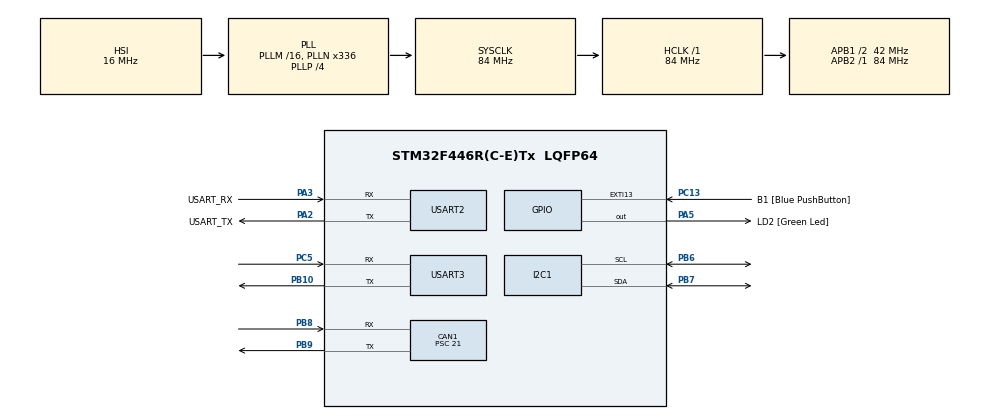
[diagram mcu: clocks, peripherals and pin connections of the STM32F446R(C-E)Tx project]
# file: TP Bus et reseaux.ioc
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CAN1.BS1=CAN_BS1_2TQ
CAN1.CalculateBaudRate=500000
CAN1.CalculateTimeBit=2000
CAN1.CalculateTimeQuantum=500.0
CAN1.Prescaler=21
Dma.Request0=USART3_RX
Dma.Request1=USART2_RX
Dma.USART2_RX.1.Direction=DMA_PERIPH_TO_MEMORY
Dma.USART2_RX.1.FIFOMode=DMA_FIFOMODE_DISABLE
Dma.USART2_RX.1.Instance=DMA1_Stream5
Dma.USART2_RX.1.MemDataAlignment=DMA_MDATAALIGN_BYTE
Dma.USART2_RX.1.MemInc=DMA_MINC_ENABLE
Dma.USART2_RX.1.Mode=DMA_NORMAL
Dma.USART2_RX.1.PeriphDataAlignment=DMA_PDATAALIGN_BYTE
Dma.USART2_RX.1.PeriphInc=DMA_PINC_DISABLE
Dma.USART2_RX.1.Priority=DMA_PRIORITY_LOW
Dma.USART3_RX.0.Direction=DMA_PERIPH_TO_MEMORY
Dma.USART3_RX.0.FIFOMode=DMA_FIFOMODE_DISABLE
Dma.USART3_RX.0.Instance=DMA1_Stream1
Dma.USART3_RX.0.MemDataAlignment=DMA_MDATAALIGN_BYTE
Dma.USART3_RX.0.MemInc=DMA_MINC_ENABLE
Dma.USART3_RX.0.Mode=DMA_NORMAL
Dma.USART3_RX.0.PeriphDataAlignment=DMA_PDATAALIGN_BYTE
Dma.USART3_RX.0.PeriphInc=DMA_PINC_DISABLE
Dma.USART3_RX.0.Priority=DMA_PRIORITY_LOW
I2C1.I2C_Mode=I2C_Standard
Mcu.Family=STM32F4
Mcu.Name=STM32F446R(C-E)Tx
Mcu.Package=LQFP64
NVIC.DMA1_Stream1_IRQn=true\:0\:0\:false\:false\:true\:false\:true\:true
NVIC.DMA1_Stream5_IRQn=true\:0\:0\:false\:false\:true\:false\:true\:true
NVIC.PriorityGroup=NVIC_PRIORITYGROUP_0
NVIC.TIM7_IRQn=true\:0\:0\:false\:false\:true\:true\:true\:true
NVIC.USART2_IRQn=true\:0\:0\:false\:false\:true\:true\:true\:true
NVIC.USART3_IRQn=true\:0\:0\:false\:false\:true\:true\:true\:true
PA13.GPIO_Label=TMS
PA13.Mode=Serial_Wire
PA13.Signal=SYS_JTMS-SWDIO
PA14.GPIO_Label=TCK
PA14.Mode=Serial_Wire
PA14.Signal=SYS_JTCK-SWCLK
PA2.GPIO_Label=USART_TX
PA2.Mode=Asynchronous
PA2.Signal=USART2_TX
PA3.GPIO_Label=USART_RX
PA3.Mode=Asynchronous
PA3.Signal=USART2_RX
PA5.GPIO_Label=LD2 [Green Led]
PA5.Signal=GPIO_Output
PB10.Mode=Asynchronous
PB10.Signal=USART3_TX
PB3.GPIO_Label=SWO
PB3.Signal=SYS_JTDO-SWO
PB6.Mode=I2C
PB6.Signal=I2C1_SCL
PB7.Mode=I2C
PB7.Signal=I2C1_SDA
PB8.Mode=CAN_Activate
PB8.Signal=CAN1_RX
PB9.Mode=CAN_Activate
PB9.Signal=CAN1_TX
PC13.GPIO_Label=B1 [Blue PushButton]
PC13.GPIO_ModeDefaultEXTI=GPIO_MODE_IT_FALLING
PC13.Signal=GPXTI13
PC14-OSC32_IN.Signal=RCC_OSC32_IN
PC15-OSC32_OUT.Signal=RCC_OSC32_OUT
PC5.Mode=Asynchronous
PC5.Signal=USART3_RX
PH0-OSC_IN.Mode=HSE-External-Oscillator
PH0-OSC_IN.Signal=RCC_OSC_IN
PH1-OSC_OUT.Mode=HSE-External-Oscillator
PH1-OSC_OUT.Signal=RCC_OSC_OUT
ProjectManager.HeapSize=0x200
ProjectManager.StackSize=0x400
ProjectManager.TargetToolchain=STM32CubeIDE
RCC.AHBFreq_Value=84000000
RCC.APB1CLKDivider=RCC_HCLK_DIV2
RCC.APB1Freq_Value=42000000
RCC.APB1TimFreq_Value=84000000
RCC.APB2Freq_Value=84000000
RCC.APB2TimFreq_Value=84000000
RCC.CortexFreq_Value=84000000
RCC.FLatency-AdvancedSettings=FLASH_LATENCY_2
RCC.HCLKFreq_Value=84000000
RCC.HSE_VALUE=8000000
RCC.HSI_VALUE=16000000
RCC.LSE_VALUE=32768
RCC.PLLN=336
RCC.PLLP=RCC_PLLP_DIV4
RCC.SYSCLKFreq_VALUE=84000000
RCC.SYSCLKSource=RCC_SYSCLKSOURCE_PLLCLK
RCC.USBFreq_Value=168000000
RCC.VCOOutputFreq_Value=336000000
TIM7.Period=100-1
TIM7.Prescaler=8400-1
USART2.VirtualMode=VM_ASYNC
USART3.VirtualMode=VM_ASYNC
VP_TIM7_VS_ClockSourceINT.Mode=Enable_Timer
board=NUCLEO-F446RE

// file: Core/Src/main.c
/* USER CODE BEGIN Header */
/**
 ******************************************************************************
 * @file           : main.c
 * @brief          : Main program body
 ******************************************************************************
 * @attention
 *
 * Copyright (c) 2022 STMicroelectronics.
 * All rights reserved.
 *
 * This software is licensed under terms that can be found in the LICENSE file
 * in the root directory of this software component.
 * If no LICENSE file comes with this software, it is provided AS-IS.
 *
 ******************************************************************************
 */
/* USER CODE END Header */
#include "main.h"
#include "can.h"
#include "dma.h"
#include "i2c.h"
#include "tim.h"
#include "usart.h"
#include "gpio.h"

/* USER CODE BEGIN Includes */
#include "BMP.h"
#include "string.h"
#include "uart_protocol.h"
/* USER CODE END Includes */

/* USER CODE BEGIN PV */
extern UART_HandleTypeDef huart2;
extern UART_HandleTypeDef huart3;
extern DMA_HandleTypeDef hdma_usart2_rx;
extern DMA_HandleTypeDef hdma_usart3_rx;
extern CAN_HandleTypeDef hcan1;
extern TIM_HandleTypeDef htim7;

CAN_TxHeaderTypeDef pHeader;
uint32_t pTxMailbox;
uint8_t aData[2];
char BMP280_test=0;
int angle=0;

uint8_t calibration_data[Calibration_size];
BMP280_S32_t t_fine;
uint16_t dig_T1;
int16_t dig_T2;
int16_t dig_T3;
uint16_t dig_P1;
int16_t dig_P2;
int16_t dig_P3;
int16_t dig_P4;
int16_t dig_P5;
int16_t dig_P6;
int16_t dig_P7;
int16_t dig_P8;
int16_t dig_P9;
int K=1000;
int A=1257;
uint8_t RxChar;
uint8_t RxBuffer[RX_BUFFER_SIZE];
BMP280_S32_t last_temp;
/* USER CODE END PV */

void SystemClock_Config(void);

int main(void)
{

  /* MCU Configuration--------------------------------------------------------*/

  /* Reset of all peripherals, Initializes the Flash interface and the Systick. */
  HAL_Init();

  /* Configure the system clock */
  SystemClock_Config();

  /* Initialize all configured peripherals */
  MX_GPIO_Init();
  MX_I2C1_Init();
  MX_CAN1_Init();
  MX_USART2_UART_Init();
  MX_DMA_Init();
  MX_USART3_UART_Init();
  MX_TIM7_Init();
  /* USER CODE BEGIN 2 */

	HAL_CAN_Start(&hcan1);

//	HAL_Delay(10000);
//
//	aData[0]=0;
//	aData[1]=0;
//	pHeader.StdId= 0x62;
//	pHeader.IDE=CAN_ID_STD;
//	pHeader.RTR=CAN_RTR_DATA;
//	pHeader.DLC=0;
//	pHeader.TransmitGlobalTime=DISABLE;
//	HAL_CAN_AddTxMessage ( &hcan1, &pHeader,aData,&pTxMailbox);

	aData[0]=0;
	aData[1]=0;
	pHeader.StdId= 0x61;
	pHeader.IDE=CAN_ID_STD;
	pHeader.RTR=CAN_RTR_DATA;
	pHeader.DLC=2;
	pHeader.TransmitGlobalTime=DISABLE;
	HAL_CAN_AddTxMessage ( &hcan1, &pHeader,aData,&pTxMailbox);

	HAL_TIM_Base_Start_IT(&htim7);

	HAL_UARTEx_ReceiveToIdle_DMA(&huart3, RxBuffer, RX_BUFFER_SIZE);
	__HAL_DMA_DISABLE_IT(&hdma_usart3_rx, DMA_IT_HT);
	BMP280 bmp;
	bmp.mode=MODE_NORMAL;
	bmp.pressure_oversampling=OverSampling16;
	bmp.temperature_oversampling=OverSampling2;
	BMP280_test=BMP_Verify_Id();
	if (BMP280_test)
	{
		BMP_Config(bmp);
		Calibration(calibration_data);

	}

  /* USER CODE END 2 */

  /* Infinite loop */
  /* USER CODE BEGIN WHILE */
	while (1)
	{
		//Read_Temp_Press(bmp);
		//HAL_Delay(1000);
    /* USER CODE END WHILE */

	}
}

void SystemClock_Config(void)
{
  RCC_OscInitTypeDef RCC_OscInitStruct = {0};
  RCC_ClkInitTypeDef RCC_ClkInitStruct = {0};

  /** Configure the main internal regulator output voltage
  */
  __HAL_RCC_PWR_CLK_ENABLE();
  __HAL_PWR_VOLTAGESCALING_CONFIG(PWR_REGULATOR_VOLTAGE_SCALE3);
  /** Initializes the RCC Oscillators according to the specified parameters
  * in the RCC_OscInitTypeDef structure.
  */
  RCC_OscInitStruct.OscillatorType = RCC_OSCILLATORTYPE_HSI;
  RCC_OscInitStruct.HSIState = RCC_HSI_ON;
  RCC_OscInitStruct.HSICalibrationValue = RCC_HSICALIBRATION_DEFAULT;
  RCC_OscInitStruct.PLL.PLLState = RCC_PLL_ON;
  RCC_OscInitStruct.PLL.PLLSource = RCC_PLLSOURCE_HSI;
  RCC_OscInitStruct.PLL.PLLM = 16;
  RCC_OscInitStruct.PLL.PLLN = 336;
  RCC_OscInitStruct.PLL.PLLP = RCC_PLLP_DIV4;
  RCC_OscInitStruct.PLL.PLLQ = 2;
  RCC_OscInitStruct.PLL.PLLR = 2;
  if (HAL_RCC_OscConfig(&RCC_OscInitStruct) != HAL_OK)
  {
    Error_Handler();
  }
  /** Initializes the CPU, AHB and APB buses clocks
  */
  RCC_ClkInitStruct.ClockType = RCC_CLOCKTYPE_HCLK|RCC_CLOCKTYPE_SYSCLK
                              |RCC_CLOCKTYPE_PCLK1|RCC_CLOCKTYPE_PCLK2;
  RCC_ClkInitStruct.SYSCLKSource = RCC_SYSCLKSOURCE_PLLCLK;
  RCC_ClkInitStruct.AHBCLKDivider = RCC_SYSCLK_DIV1;
  RCC_ClkInitStruct.APB1CLKDivider = RCC_HCLK_DIV2;
  RCC_ClkInitStruct.APB2CLKDivider = RCC_HCLK_DIV1;

  if (HAL_RCC_ClockConfig(&RCC_ClkInitStruct, FLASH_LATENCY_2) != HAL_OK)
  {
    Error_Handler();
  }
}

/* USER CODE BEGIN 4 */
void HAL_UARTEx_RxEventCallback(UART_HandleTypeDef *huart, uint16_t Size)
{
	if (huart->Instance == USART3)
	{
		RxBuffer[Size]='\r';
		RxBuffer[Size+1]='\n';
		protocol(RxBuffer,Size+2);
		HAL_UARTEx_ReceiveToIdle_DMA(&huart3, RxBuffer, RX_BUFFER_SIZE);
		__HAL_DMA_DISABLE_IT(&hdma_usart3_rx, DMA_IT_HT);
	}
}

void HAL_TIM_PeriodElapsedCallback(TIM_HandleTypeDef *htim)
{
	last_temp=Read_Temp();
	//printf("T=%d\r\n",last_temp);
	angle=((last_temp-2500))*K/10000;
	//printf("angle=%d\r\n",angle);
	if(angle>=0)
	{
		aData[1]=1;
	}
	else
	{
		aData[1]=0;
	}
	aData[0]=abs(angle);
	if(HAL_CAN_AddTxMessage( &hcan1, &pHeader,aData,&pTxMailbox)==HAL_OK)
	{
		//printf("Motor transmission succeded\r\n");
	}
}
/* USER CODE END 4 */

void Error_Handler(void)
{
	__disable_irq();
	while (1)
	{
	}
}
